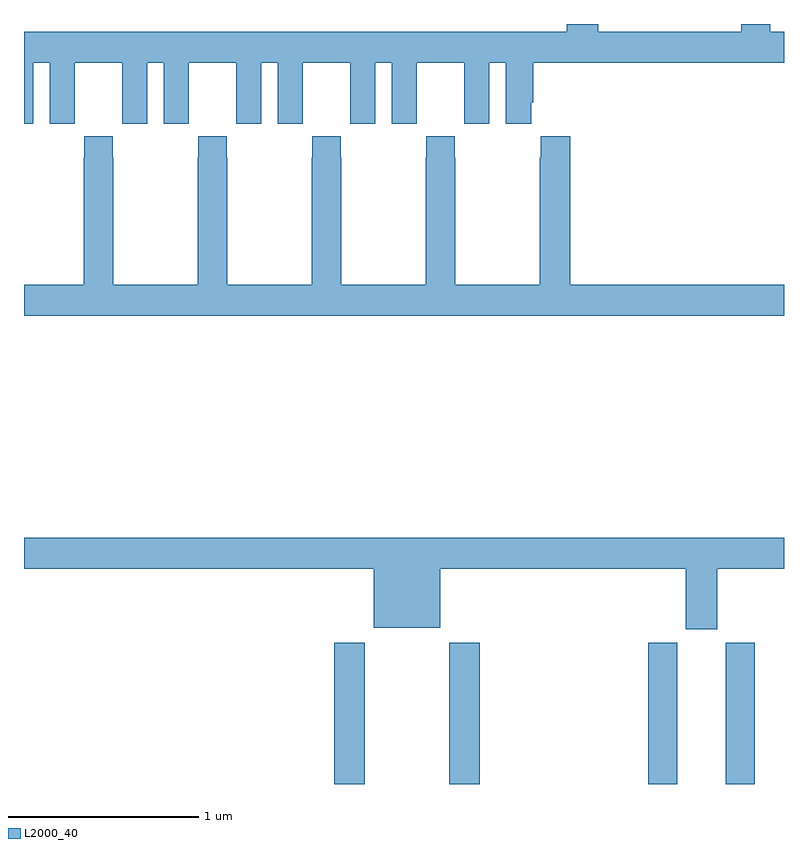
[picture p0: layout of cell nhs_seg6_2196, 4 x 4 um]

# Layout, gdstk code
import gdstk
lib = gdstk.Library(unit=1e-6, precision=1e-09)
def R(c, l, rs):  # rectangles x0, y0, x1, y1
    for r in rs: c.add(gdstk.rectangle(r[:2], r[2:], *l))
def P(c, l, *ps):  # polygons
    for p in ps: c.add(gdstk.Polygon(p, *l))
L2000_40 = (2000, 40)

nhs_seg6_2196 = lib.new_cell('nhs_seg6_2196')
R(nhs_seg6_2196, L2000_40, [(242.633,983.5,242.793,984.244), (243.238,983.5,243.398,984.244), (244.286,983.5,244.438,984.243), (244.694,983.5,244.847,984.243)])
P(nhs_seg6_2196, L2000_40, [(245,987.46),(244.927,987.46),(244.927,987.5),(244.775,987.5),(244.775,987.46),(244.022,987.46),(244.022,987.5),(243.857,987.5),(243.857,987.46),(241,987.46),(241,986.976),(241.048,986.976),(241.048,987.296),(241.136,987.296),(241.136,986.976),(241.266,986.976),(241.266,987.088),(241.267,987.088),(241.267,987.296),(241.517,987.296),(241.517,987.088),(241.518,987.088),(241.518,986.976),(241.648,986.976),(241.648,987.296),(241.736,987.296),(241.736,986.976),(241.866,986.976),(241.866,987.088),(241.867,987.088),(241.867,987.296),(242.117,987.296),(242.117,987.088),(242.118,987.088),(242.118,986.976),(242.248,986.976),(242.248,987.296),(242.336,987.296),(242.336,986.976),(242.466,986.976),(242.466,987.088),(242.467,987.088),(242.467,987.296),(242.717,987.296),(242.717,987.088),(242.718,987.088),(242.718,986.976),(242.848,986.976),(242.848,987.296),(242.936,987.296),(242.936,986.976),(243.066,986.976),(243.066,987.088),(243.067,987.088),(243.067,987.296),(243.317,987.296),(243.317,987.088),(243.318,987.088),(243.318,986.976),(243.448,986.976),(243.448,987.296),(243.536,987.296),(243.536,986.976),(243.67,986.976),(243.67,987.088),(243.68,987.088),(243.68,987.296),(245,987.296)],
  [(245,986.128),(243.875,986.128),(243.875,986.908),(243.721,986.908),(243.721,986.795),(243.715,986.795),(243.715,986.128),(243.27,986.128),(243.27,986.795),(243.267,986.795),(243.267,986.908),(243.117,986.908),(243.117,986.795),(243.115,986.795),(243.115,986.128),(242.67,986.128),(242.67,986.795),(242.667,986.795),(242.667,986.908),(242.517,986.908),(242.517,986.795),(242.515,986.795),(242.515,986.128),(242.07,986.128),(242.07,986.795),(242.067,986.795),(242.067,986.908),(241.917,986.908),(241.917,986.795),(241.915,986.795),(241.915,986.128),(241.47,986.128),(241.47,986.795),(241.467,986.795),(241.467,986.908),(241.317,986.908),(241.317,986.795),(241.315,986.795),(241.315,986.128),(241,986.128),(241,985.964),(245,985.964)],
  [(244.648,984.632),(245,984.632),(245,984.796),(241,984.796),(241,984.632),(242.84,984.632),(242.84,984.323),(243.19,984.323),(243.19,984.632),(244.484,984.632),(244.484,984.315),(244.648,984.315)])

lib.write_gds('nhs_seg6_2196.gds')
